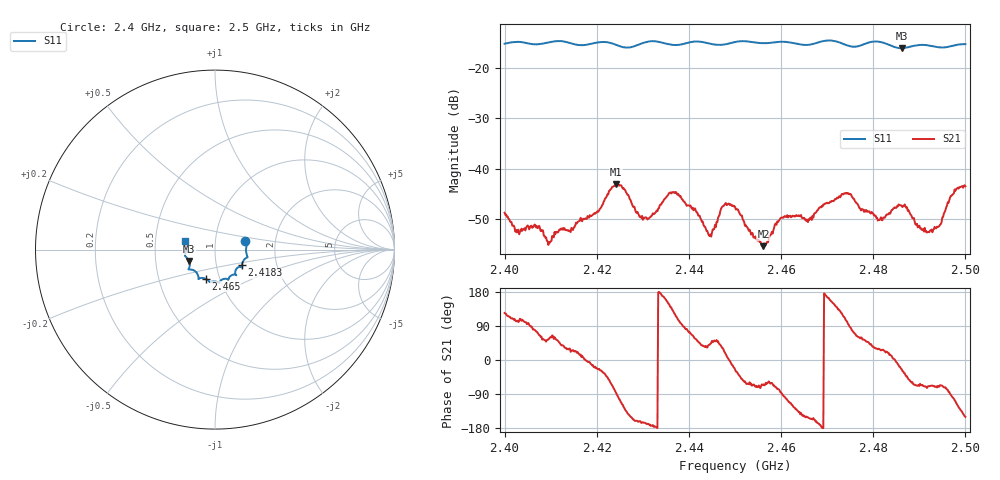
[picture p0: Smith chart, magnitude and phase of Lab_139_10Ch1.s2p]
# Hz S RI R 50
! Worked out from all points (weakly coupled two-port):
!   601 points, 2.4 GHz to 2.5 GHz, reference 50 ohm
!   highest |S21| = -43.14 dB at 2.4242 GHz (marker M1); lowest = -55.4 dB at 2.4562 GHz (marker M2)
!   lowest |S11| = -16.0 dB at 2.4862 GHz (marker M3), VSWR 1.38, Z = 37.1 - j4.81 ohm
!   |S11| at or under -10 dB: start of sweep to end of sweep
!   S12 and S22 are empty: the file has one direction only
!   S11 on the Smith chart (normalised r, x): 2.4 GHz: 1.40, +0.13; 2.4183 GHz: 1.33, -0.24; 2.465 GHz: 0.86, -0.29; 2.5 GHz: 0.71, +0.07
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2.4e9  0.169 0.0459  -0.00204 0.00301  0 0  0 0
2.402833e9  0.18 0.0333  -0.000561 0.00237  0 0  0 0
2.409667e9  0.1779 -0.0329  0.00103 0.00155  0 0  0 0
2.416667e9  0.1551 -0.0683  0.00302 0.000423  0 0  0 0
2.418333e9  0.15 -0.087  0.00323 -0.00028  0 0  0 0
2.424167e9  0.1414 -0.096  0.00046 -0.00695  0 0  0 0
2.429667e9  0.113 -0.1345  -0.00315 -0.000781  0 0  0 0
2.433333e9  0.1169 -0.1412  -0.004 0.000109  0 0  0 0
2.437333e9  0.0872 -0.1461  -0.00225 0.00525  0 0  0 0
2.4445e9  0.0652 -0.1633  0.00162 0.00137  0 0  0 0
2.4475e9  0.0392 -0.1672  0.00375 0.00198  0 0  0 0
2.45e9  0.0251 -0.1806  0.00378 -0.00173  0 0  0 0
2.456167e9  -0.00235 -0.1773  0.000732 -0.00152  0 0  0 0
2.460333e9  -0.0287 -0.1812  -0.000135 -0.00325  0 0  0 0
2.465e9  -0.0527 -0.1621  -0.00278 -0.00168  0 0  0 0
2.466667e9  -0.0712 -0.1577  -0.0028 -0.0013  0 0  0 0
2.474167e9  -0.0959 -0.1399  -0.00133 0.00548  0 0  0 0
2.481e9  -0.1478 -0.1094  0.00267 0.00145  0 0  0 0
2.483333e9  -0.1421 -0.096  0.00334 0.00114  0 0  0 0
2.486167e9  -0.1447 -0.0633  0.00392 -0.00175  0 0  0 0
2.492333e9  -0.1658 -0.0252  0.000894 -0.00225  0 0  0 0
2.5e9  -0.167 0.0473  -0.00578 -0.00332  0 0  0 0
